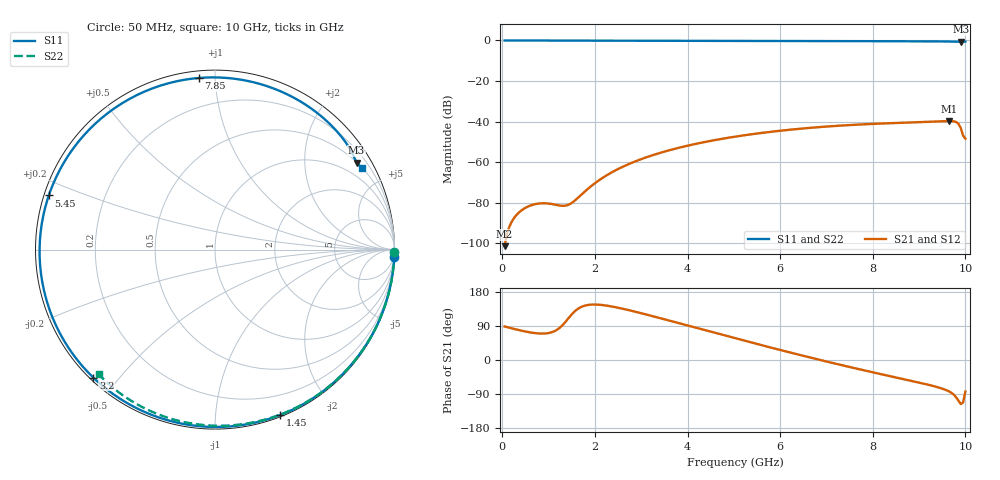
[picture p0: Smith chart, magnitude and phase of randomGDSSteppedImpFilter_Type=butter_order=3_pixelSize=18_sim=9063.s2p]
! freq	dB(S11)	phase(S11)	dB(S12)	phase(S12)
!  dB(S21)	phase(S21)	dB(S22)	phase(S22)
!S-par simulation data
#  GHz  S  DB  R 50
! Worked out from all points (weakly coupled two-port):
!   200 points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, 50 MHz to 10 GHz, reference 50 ohm
!   highest |S21| = -39.67 dB at 9.65 GHz (marker M1); lowest = -101.4 dB at 50 MHz (marker M2)
!   lowest |S11| = -0.7 dB at 9.9 GHz (marker M3), VSWR 26.07, Z = 25.4 + j173 ohm
!   |S11| at or under -10 dB: nowhere
!   |S22| runs from -0.5 to 0.0 dB; largest |S21 - S12| = 0
!   S11 on the Smith chart (normalised r, x): 50 MHz: 0, -46; 1.45 GHz: 0.01, -1.47; 3.2 GHz: 0.01, -0.43; 5.45 GHz: 0.01, +0.16; 7.85 GHz: 0.04, +0.91; 10 GHz: 0.51, +3.80
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0.05  -0.00 -2.5  -101.35 88.5  -101.35 88.5  -0.00 -0.8
0.65  -0.04 -32.0  -81.02 71.9  -81.02 71.9  -0.01 -9.9
1.05  -0.06 -50.8  -80.51 72.6  -80.51 72.6  -0.02 -16.0
1.45  -0.08 -68.6  -80.73 113.5  -80.73 113.5  -0.03 -22.0
1.55  -0.09 -72.9  -79.20 126.8  -79.20 126.8  -0.03 -23.5
1.75  -0.09 -81.2  -75.10 142.2  -75.10 142.2  -0.03 -26.4
2.35  -0.12 -104.4  -65.17 141.6  -65.17 141.6  -0.05 -35.3
3.2  -0.14 -133.5  -56.88 117.2  -56.88 117.2  -0.06 -47.5
3.4  -0.15 -139.8  -55.44 110.7  -55.44 110.7  -0.07 -50.3
4.2  -0.17 -163.6  -50.84 84.5  -50.84 84.5  -0.09 -61.4
5.05  -0.21 172.8  -47.32 56.7  -47.32 56.7  -0.11 -72.9
5.45  -0.23 162.0  -46.00 43.8  -46.00 43.8  -0.13 -78.1
6.05  -0.26 145.8  -44.35 24.9  -44.35 24.9  -0.15 -85.8
6.7  -0.29 128.0  -42.95 5.0  -42.95 5.0  -0.18 -93.9
7.85  -0.35 95.3  -41.27 -28.3  -41.27 -28.3  -0.25 -107.9
8.35  -0.38 80.4  -40.78 -42.0  -40.78 -42.0  -0.29 -113.8
9  -0.42 60.2  -40.27 -59.6  -40.27 -59.6  -0.34 -121.3
9.65  -0.52 39.0  -39.67 -83.1  -39.67 -83.1  -0.41 -128.9
9.8  -0.61 34.2  -40.18 -98.3  -40.18 -98.3  -0.42 -130.7
9.9  -0.67 31.6  -43.11 -116.2  -43.11 -116.2  -0.44 -131.8
9.95  -0.64 30.4  -46.92 -112.2  -46.92 -112.2  -0.46 -132.4
10  -0.56 29.0  -48.37 -83.3  -48.37 -83.3  -0.46 -132.9
